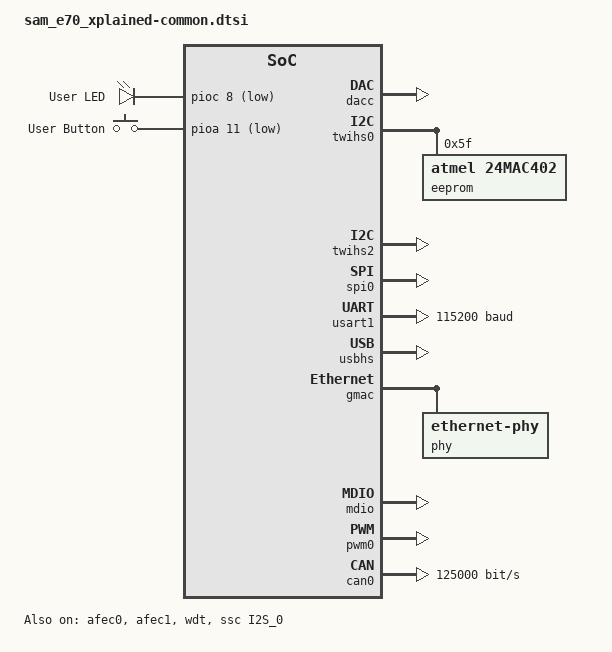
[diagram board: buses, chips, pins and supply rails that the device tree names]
/*
 * Copyright (c) 2017 Piotr Mienkowski
 * Copyright (c) 2017 Justin Watson
 * Copyright (c) 2020 Stephanos Ioannidis <root@stephanos.io>
 * Copyright (c) 2020 Gerson Fernando Budke <nandojve@gmail.com>
 *
 * SPDX-License-Identifier: Apache-2.0
 */

#include "sam_e70_xplained-pinctrl.dtsi"

/ {
	aliases {
		i2c-0 = &twihs0;
		i2c-1 = &twihs2;
		led0 = &green_led;
		sw0 = &sw0_user_button;
		watchdog0 = &wdt;
	};

	chosen {
		zephyr,console = &usart1;
		zephyr,shell-uart = &usart1;
		zephyr,sram = &sram0;
		zephyr,flash = &flash0;
		zephyr,code-partition = &slot0_partition;
		zephyr,canbus = &can0;
	};

	leds {
		compatible = "gpio-leds";
		green_led: led_0 {
			gpios = <&pioc 8 GPIO_ACTIVE_LOW>;
			label = "User LED";
		};
	};

	gpio_keys {
		compatible = "gpio-keys";

		/* The switch is labeled SW300 in the schematic, and labeled
		 * SW0 on the board, and labeld SW1 User Button on docs
		 */
		sw0_user_button: button_1 {
			label = "User Button";
			gpios = <&pioa 11 (GPIO_PULL_UP | GPIO_ACTIVE_LOW)>;
		};
	};
};

&cpu0 {
	clock-frequency = <300000000>;
};

&afec0 {
	status = "okay";

	pinctrl-0 = <&afec0_default>;
	pinctrl-names = "default";
};

&afec1 {
	status = "okay";

	pinctrl-0 = <&afec1_default>;
	pinctrl-names = "default";
};

&dacc {
	status = "okay";
};

&twihs0 {
	status = "okay";

	pinctrl-0 = <&twihs0_default>;
	pinctrl-names = "default";

	eeprom: eeprom@5f {
		compatible = "atmel,24mac402";
		reg = <0x5f>;
	};
};

&twihs2 {
	status = "okay";

	pinctrl-0 = <&twihs2_default>;
	pinctrl-names = "default";
};

&spi0 {
	status = "okay";

	pinctrl-0 = <&spi0_default>;
	pinctrl-names = "default";

	cs-gpios = <&piod 25 GPIO_ACTIVE_LOW>,
		   <&piod 27 GPIO_ACTIVE_LOW>;
};

&usart1 {
	status = "okay";
	current-speed = <115200>;

	pinctrl-0 = <&usart1_default>;
	pinctrl-names = "default";
};

&wdt {
	status = "okay";
};

zephyr_udc0: &usbhs {
	status = "okay";
};

&gmac {
	status = "okay";

	pinctrl-0 = <&gmac_rmii>;
	pinctrl-names = "default";

	mac-eeprom = <&eeprom>;

	phy: phy {
		compatible = "ethernet-phy";
		status = "okay";
		address = <0>;
		mdio = <&mdio>;
	};
};

&mdio {
	status = "okay";

	pinctrl-0 = <&mdio_default>;
	pinctrl-names = "default";
};

&pwm0 {
	status = "okay";

	pinctrl-0 = <&pwm_default>;
	pinctrl-names = "default";
};

&flash0 {
	partitions {
		compatible = "fixed-partitions";
		#address-cells = <1>;
		#size-cells = <1>;

		/*
		 * The first half of sector 0 (64 kbytes)
		 * is reserved for the bootloader
		 */
		boot_partition: partition@0 {
			label = "mcuboot";
			reg = <0x0 0x00010000>;
			read-only;
		};

		/* From sector 1 to sector 7 (included): slot0 (896 kbytes) */
		slot0_partition: partition@20000 {
			label = "image-0";
			reg = <0x00020000 0x000e0000>;
		};

		/* From sector 8 to sector 14 (included): slot1 (896 kbytes) */
		slot1_partition: partition@100000 {
			label = "image-1";
			reg = <0x00100000 0x000e0000>;
		};

		/* Sector 15: scratch (128 kbytes) */
		scratch_partition: partition@1e0000 {
			label = "image-scratch";
			reg = <0x001e0000 0x00020000>;
		};
	};
};

&ssc {
	status = "okay";
	label = "I2S_0";

	pinctrl-0 = <&ssc_default>;
	pinctrl-names = "default";

	dma-names = "rx", "tx";
	dmas = <&xdmac 22 DMA_PERID_SSC_RX>, <&xdmac 23 DMA_PERID_SSC_TX>;
};

&can0 {
	status = "okay";

	pinctrl-0 = <&can0_default>;
	pinctrl-names = "default";

	bus-speed = <125000>;
	bus-speed-data = <1000000>;

	can-transceiver {
		max-bitrate = <5000000>;
	};
};
